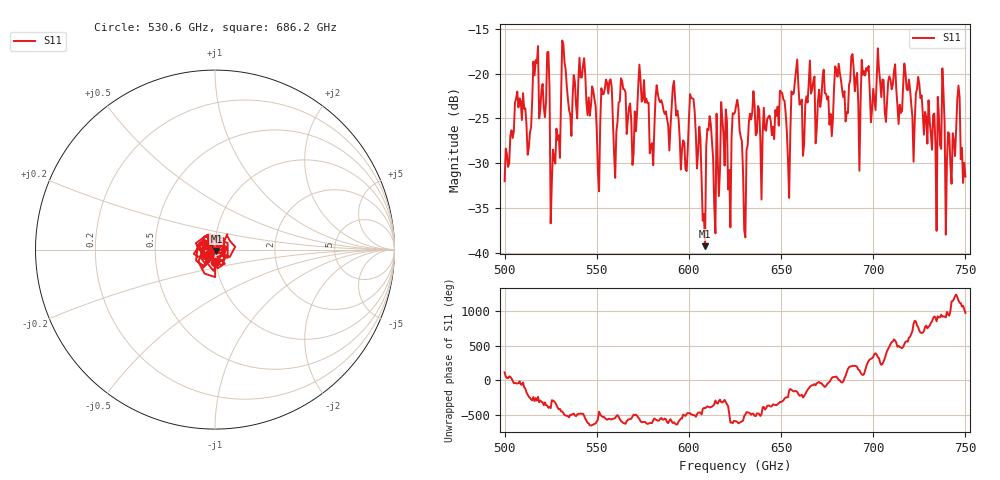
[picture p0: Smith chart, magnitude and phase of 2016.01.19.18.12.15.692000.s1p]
!Created with skrf (http://scikit-rf.org).
# GHz S RI R 50.0
!freq ReS11 ImS11
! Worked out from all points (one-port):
!   401 points, 500 GHz to 750 GHz, reference 50 ohm
!   lowest |S11| = -39.3 dB at 608.8 GHz (marker M1), VSWR 1.02, Z = 50.8 - j0.765 ohm
!   |S11| at or under -10 dB: start of sweep to end of sweep
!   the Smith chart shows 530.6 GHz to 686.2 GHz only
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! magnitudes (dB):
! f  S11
! 500 GHz  -32.0
! 506.9 GHz  -22.0
! 513.1 GHz  -28.3
! 516.9 GHz  -18.5
! 523.1 GHz  -17.6
! 526.2 GHz  -28.5
! 531.2 GHz  -16.3
! 541.9 GHz  -20.4
! 550.6 GHz  -31.0
! 553.8 GHz  -22.3
! 562.5 GHz  -23.1
! 593.8 GHz  -24.1
! 598.1 GHz  -30.7
! 601.9 GHz  -22.8
! 608.8 GHz  -39.3
! 610.6 GHz  -26.3
! 615 GHz  -24.5
! 625 GHz  -24.3
! 630.6 GHz  -38.3
! 634.4 GHz  -24.3
! 650.6 GHz  -22.2
! 653.8 GHz  -29.7
! 656.2 GHz  -22.3
! 687.5 GHz  -20.8
! 718.8 GHz  -21.8
! 740.6 GHz  -26.5
! 746.2 GHz  -21.3
! 750 GHz  -31.5
